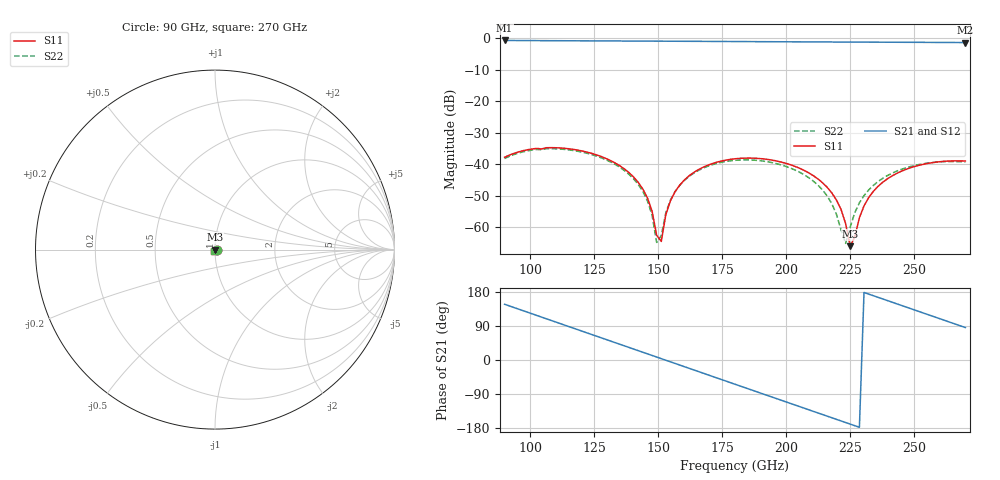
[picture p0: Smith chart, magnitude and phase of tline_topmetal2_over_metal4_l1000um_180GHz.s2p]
#  GHZ S DB R 50
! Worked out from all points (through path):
!   101 points, 90 GHz to 270 GHz, reference 50 ohm
!   highest |S21| = -0.75 dB at 90 GHz (marker M1); lowest = -1.4 dB at 270 GHz (marker M2)
!   group delay of S21, straight-line fit = 6.5 ps
!   lowest |S11| = -66.1 dB at 225 GHz (marker M3), VSWR 1.00, Z = 50 + j0.0372 ohm
!   |S11| at or under -10 dB: start of sweep to end of sweep
!   |S22| runs from -65.2 to -35.1 dB; largest |S21 - S12| = 1e-13
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90  -37.85 -15.2  -0.75 147.1  -0.75 147.1  -38.25 -14.6
106.2  -34.82 -53.1  -0.82 109.1  -0.82 109.1  -35.15 -52.6
120.6  -35.90 -86.6  -0.87 75.3  -0.87 75.3  -36.27 -86.0
140.4  -44.12 -131.5  -0.94 28.9  -0.94 28.9  -44.71 -130.7
145.8  -50.76 -140.8  -0.96 16.2  -0.96 16.2  -51.69 -139.3
147.6  -54.93 -140.7  -0.97 12.0  -0.97 12.0  -56.22 -138.0
149.4  -62.60 -127.0  -0.97 7.8  -0.97 7.8  -64.88 -115.2
151.2  -64.57 -20.6  -0.98 3.6  -0.98 3.6  -62.73 -12.0
153  -56.00 0.4  -0.99 -0.7  -0.99 -0.7  -55.38 1.8
158.4  -46.69 -4.2  -1.01 -13.3  -1.01 -13.3  -46.75 -3.7
167.4  -41.06 -24.8  -1.04 -34.4  -1.04 -34.4  -41.35 -24.3
180  -38.32 -56.4  -1.09 -63.9  -1.09 -63.9  -38.81 -55.9
194.4  -38.73 -93.4  -1.15 -97.7  -1.15 -97.7  -39.53 -93.2
210.6  -43.69 -136.2  -1.22 -135.5  -1.22 -135.5  -45.41 -137.4
217.8  -49.14 -157.7  -1.24 -152.3  -1.24 -152.3  -52.55 -163.2
223.2  -58.85 173.6  -1.26 -165.0  -1.26 -165.0  -65.19 100.4
225  -66.07 131.6  -1.26 -169.2  -1.26 -169.2  -60.00 45.1
228.6  -57.02 19.6  -1.28 -177.6  -1.28 -177.6  -52.30 15.8
232.2  -50.68 1.0  -1.29 174.0  -1.29 174.0  -48.24 1.5
241.2  -43.83 -27.4  -1.32 152.9  -1.32 152.9  -42.96 -26.1
255.6  -39.75 -68.9  -1.36 119.2  -1.36 119.2  -39.64 -67.9
270  -39.03 -112.4  -1.41 85.6  -1.41 85.6  -39.37 -112.5
